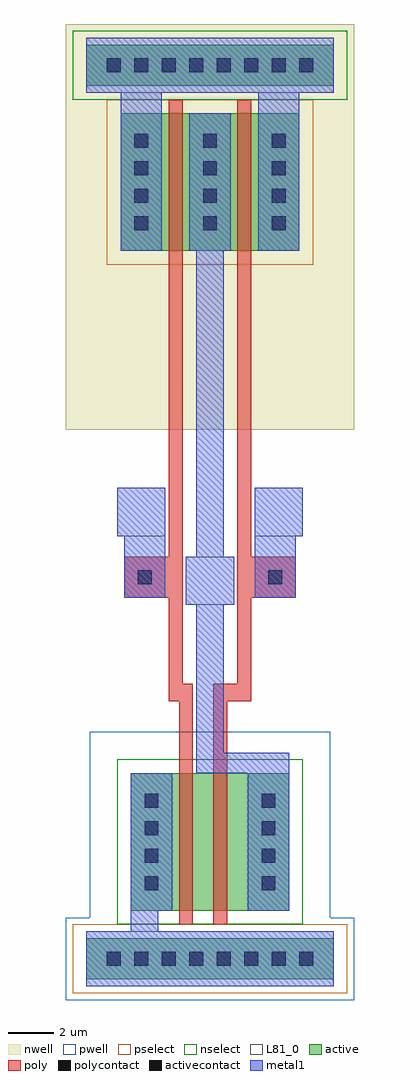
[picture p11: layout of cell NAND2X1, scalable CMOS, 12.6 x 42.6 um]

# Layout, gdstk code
import gdstk
lib = gdstk.Library(unit=1e-6, precision=1e-09)
def R(c, l, rs):  # rectangles x0, y0, x1, y1
    for r in rs: c.add(gdstk.rectangle(r[:2], r[2:], *l))
def A(c, l, x, y, w, h, nx, ny, dx, dy):  # array of equal rectangles
    R(c, l, [(x+i*dx, y+j*dy, x+i*dx+w, y+j*dy+h) for i in range(nx) for j in range(ny)])
pwell = (41, 0)
nwell = (42, 0)
active = (43, 0)
pselect = (44, 0)
nselect = (45, 0)
poly = (46, 0)
polycontact = (47, 0)
activecontact = (48, 0)
metal1 = (49, 0)
L81_0 = (81, 0)

nand2x1 = lib.new_cell('NAND2X1')
R(nand2x1, pwell, [(-1.8,-1.8,10.8,1.8), (-0.75,1.8,9.75,9.9)])
R(nand2x1, nwell, [(-1.8,23.1,10.8,40.8)])
R(nand2x1, active, [(-0.9,-0.9,9.9,0.9), (1.05,2.1,7.95,8.1), (0.6,30.9,8.4,36.9), (-0.9,38.1,9.9,39.9)])
R(nand2x1, pselect, [(-1.5,-1.5,10.5,1.5), (0,30.3,9,37.5)])
R(nand2x1, nselect, [(0.45,1.5,8.55,8.7), (-1.5,37.5,10.5,40.5)])
R(nand2x1, poly, [(3.15,1.5,3.75,11.25), (4.65,1.5,5.25,11.25), (2.7,11.25,3.75,12), (4.65,11.25,6.3,12), (2.7,12,3.3,15.75), (5.7,12,6.3,15.75), (0.75,15.75,3.3,17.55), (5.7,15.75,8.25,17.55), (2.7,17.55,3.3,37.5), (5.7,17.55,6.3,37.5)])
R(nand2x1, polycontact, [(1.35,16.35,1.95,16.95), (7.05,16.35,7.65,16.95)])
A(nand2x1, activecontact, 0, -0.3, 0.6, 0.6, 8, 2, 1.2, 39)
A(nand2x1, activecontact, 1.65, 3, 0.6, 0.6, 1, 4, 0, 1.2)
A(nand2x1, activecontact, 6.75, 3, 0.6, 0.6, 1, 4, 0, 1.2)
A(nand2x1, activecontact, 1.2, 31.8, 0.6, 0.6, 3, 4, 3, 1.2)
R(nand2x1, metal1, [(-0.9,-1.2,9.9,1.2), (1.05,1.2,2.25,2.1), (1.05,2.1,2.85,8.1), (6.15,2.1,7.95,8.1), (3.9,8.1,7.95,9), (3.9,9,5.1,15.45), (3.45,15.45,5.55,17.55), (0.75,15.75,2.55,18.45), (6.45,15.75,8.25,18.45), (3.9,17.55,5.1,30.9), (0.45,18.45,2.55,20.55), (6.45,18.45,8.55,20.55), (0.6,30.9,2.4,37.8), (3.6,30.9,5.4,36.9), (6.6,30.9,8.4,37.8), (-0.9,37.8,9.9,40.2)])
R(nand2x1, L81_0, [(-0.9,-1.2,9.9,1.2), (3.45,15.45,5.55,17.55), (0.45,18.45,2.55,20.55), (6.45,18.45,8.55,20.55), (-0.9,37.8,9.9,40.2)])

lib.write_gds('NAND2X1.gds')
